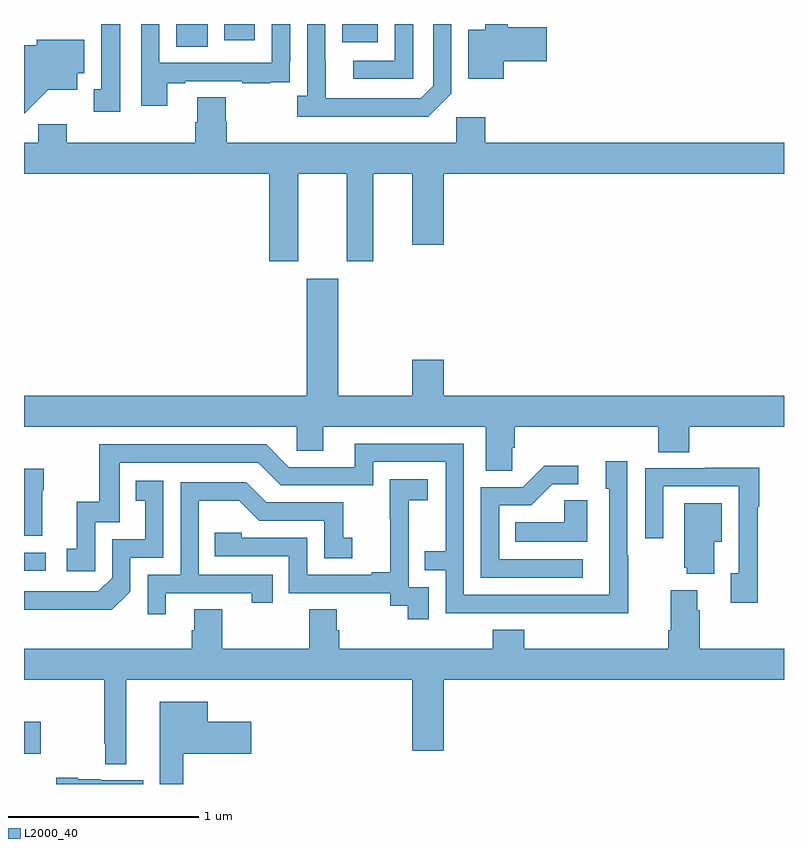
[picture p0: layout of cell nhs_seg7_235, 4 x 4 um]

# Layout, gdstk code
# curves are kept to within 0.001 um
import gdstk
lib = gdstk.Library(unit=1e-6, precision=1e-09)
def R(c, l, rs):  # rectangles x0, y0, x1, y1
    for r in rs: c.add(gdstk.rectangle(r[:2], r[2:], *l))
def P(c, l, *ps):  # polygons
    for p in ps: c.add(gdstk.Polygon(p, *l))
L2000_40 = (2000, 40)

nhs_seg7_235 = lib.new_cell('nhs_seg7_235')
R(nhs_seg7_235, L2000_40, [(127,1068.158,127.087,1068.328), (127,1069.122,127.114,1069.218), (127.802,1071.88,127.966,1072), (128.675,1071.905,128.863,1072), (128.054,1071.915,128.215,1072)])
P(nhs_seg7_235, L2000_40, [(127.753,1071.687),(127.849,1071.687),(127.849,1071.699),(128.149,1071.699),(128.149,1071.687),(128.297,1071.687),(128.297,1071.693),(128.399,1071.693),(128.399,1071.802),(128.4,1071.802),(128.4,1072),(128.304,1072),(128.304,1071.795),(127.713,1071.795),(127.713,1072),(127.617,1072),(127.617,1071.57),(127.753,1071.57)],
  [(129.249,1071.633),(129.249,1072),(129.153,1072),(129.153,1071.675),(129.087,1071.609),(128.587,1071.609),(128.586,1072),(128.49,1072),(128.49,1071.622),(128.439,1071.622),(128.439,1071.512),(129.128,1071.512)],
  [(127.507,1072),(127.406,1072),(127.406,1071.657),(127.367,1071.657),(127.367,1071.537),(127.507,1071.537)],
  [(129.526,1071.805),(129.751,1071.805),(129.751,1071.983),(129.545,1071.983),(129.545,1072),(129.428,1072),(129.428,1071.97),(129.338,1071.97),(129.338,1071.713),(129.526,1071.713)],
  [(129.048,1072),(128.952,1072),(128.952,1071.807),(128.733,1071.807),(128.733,1071.711),(129.048,1071.711)],
  [(127.024,1071.551),(127.127,1071.653),(127.279,1071.653),(127.279,1071.74),(127.318,1071.74),(127.318,1071.916),(127.068,1071.916),(127.068,1071.889),(127,1071.889),(127,1071.527)],
  [(128.443,1071.212),(128.699,1071.212),(128.699,1070.751),(128.839,1070.751),(128.839,1071.212),(129.044,1071.212),(129.044,1070.838),(129.208,1070.838),(129.208,1071.212),(131,1071.212),(131,1071.376),(129.428,1071.376),(129.428,1071.508),(129.276,1071.508),(129.276,1071.376),(128.066,1071.376),(128.066,1071.489),(128.061,1071.489),(128.061,1071.614),(127.913,1071.614),(127.913,1071.482),(127.901,1071.482),(127.901,1071.376),(127.226,1071.376),(127.226,1071.472),(127.074,1071.472),(127.074,1071.376),(127,1071.376),(127,1071.212),(128.291,1071.212),(128.291,1070.751),(128.443,1070.751)],
  [(129.57,1069.771),(129.584,1069.771),(129.584,1069.88),(130.337,1069.88),(130.337,1069.747),(130.502,1069.747),(130.502,1069.88),(131,1069.88),(131,1070.044),(129.208,1070.044),(129.208,1070.233),(129.044,1070.233),(129.044,1070.044),(128.653,1070.044),(128.653,1070.659),(128.489,1070.659),(128.489,1070.044),(127,1070.044),(127,1069.88),(128.436,1069.88),(128.436,1069.753),(128.575,1069.753),(128.575,1069.88),(129.431,1069.88),(129.431,1069.648),(129.57,1069.648)],
  [(130.179,1069.205),(130.176,1069.205),(130.176,1069.699),(130.061,1069.699),(130.061,1069.554),(130.08,1069.554),(130.08,1068.996),(129.315,1068.996),(129.315,1069.791),(128.741,1069.791),(128.741,1069.668),(128.394,1069.668),(128.274,1069.788),(127.395,1069.788),(127.395,1069.486),(127.277,1069.486),(127.277,1069.239),(127.224,1069.239),(127.224,1069.119),(127.374,1069.119),(127.374,1069.377),(127.503,1069.377),(127.503,1069.692),(128.232,1069.692),(128.352,1069.572),(128.838,1069.572),(128.838,1069.695),(129.219,1069.695),(129.219,1069.226),(129.109,1069.226),(129.109,1069.125),(129.219,1069.125),(129.219,1068.9),(130.179,1068.899)],
  [(129.94,1069.182),(129.501,1069.182),(129.501,1069.467),(129.67,1069.467),(129.781,1069.578),(129.916,1069.578),(129.916,1069.676),(129.737,1069.676),(129.624,1069.563),(129.405,1069.563),(129.405,1069.086),(129.94,1069.086)],
  [(130.862,1069.459),(130.87,1069.459),(130.87,1069.664),(130.585,1069.664),(130.585,1069.662),(130.269,1069.662),(130.269,1069.293),(130.365,1069.293),(130.365,1069.566),(130.761,1069.566),(130.761,1069.11),(130.721,1069.11),(130.721,1068.954),(130.862,1068.954)],
  [(127.096,1069.547),(127.104,1069.547),(127.104,1069.66),(127,1069.66),(127,1069.307),(127.096,1069.307)],
  [(129.129,1069.035),(129.024,1069.035),(129.024,1069.265),(129.026,1069.265),(129.026,1069.493),(129.124,1069.493),(129.124,1069.603),(128.926,1069.603),(128.926,1069.397),(128.927,1069.397),(128.927,1069.114),(128.831,1069.114),(128.831,1069.101),(128.49,1069.101),(128.49,1069.296),(128.145,1069.296),(128.145,1069.323),(128.005,1069.323),(128.005,1069.2),(128.394,1069.2),(128.394,1069.005),(128.928,1069.005),(128.928,1068.937),(129.021,1068.937),(129.021,1068.867),(129.129,1068.867)],
  [(127.551,1069.005),(127.56,1069.014),(127.56,1069.191),(127.734,1069.191),(127.734,1069.597),(127.588,1069.597),(127.588,1069.491),(127.637,1069.491),(127.637,1069.287),(127.464,1069.287),(127.464,1069.086),(127.392,1069.014),(127,1069.014),(127,1068.918),(127.054,1068.917),(127.462,1068.917)],
  [(127.747,1069.005),(128.198,1069.005),(128.198,1068.954),(128.309,1068.954),(128.309,1069.101),(127.92,1069.101),(127.92,1069.49),(128.134,1069.49),(128.238,1069.386),(128.58,1069.386),(128.58,1069.188),(128.727,1069.188),(128.727,1069.297),(128.679,1069.297),(128.679,1069.482),(128.275,1069.482),(128.17,1069.587),(127.824,1069.587),(127.824,1069.101),(127.65,1069.101),(127.65,1068.894),(127.747,1068.894)],
  [(129.964,1069.493),(129.843,1069.493),(129.843,1069.378),(129.586,1069.378),(129.586,1069.274),(129.964,1069.274)],
  [(130.633,1069.274),(130.672,1069.274),(130.672,1069.477),(130.475,1069.477),(130.475,1069.137),(130.487,1069.137),(130.487,1069.106),(130.633,1069.106)],
  [(127.537,1068.548),(129.044,1068.548),(129.044,1068.174),(129.208,1068.174),(129.208,1068.548),(131,1068.548),(131,1068.712),(130.556,1068.712),(130.556,1068.914),(130.543,1068.914),(130.543,1069.021),(130.403,1069.021),(130.403,1068.808),(130.391,1068.808),(130.391,1068.712),(129.632,1068.712),(129.632,1068.811),(129.467,1068.811),(129.467,1068.712),(128.66,1068.712),(128.66,1068.81),(128.647,1068.81),(128.647,1068.92),(128.5,1068.92),(128.5,1068.712),(128.043,1068.712),(128.043,1068.92),(127.895,1068.92),(127.895,1068.81),(127.883,1068.81),(127.883,1068.712),(127,1068.712),(127,1068.548),(127.423,1068.548),(127.423,1068.211),(127.427,1068.211),(127.427,1068.104),(127.537,1068.104)],
  [(127.837,1068.158),(128.197,1068.158),(128.197,1068.328),(127.966,1068.328),(127.966,1068.433),(127.715,1068.433),(127.715,1068),(127.837,1068)],
  [(127.627,1068.019),(127.404,1068.019),(127.404,1068.026),(127.282,1068.026),(127.282,1068.032),(127.17,1068.032),(127.17,1068),(127.627,1068)])

lib.write_gds('nhs_seg7_235.gds')
